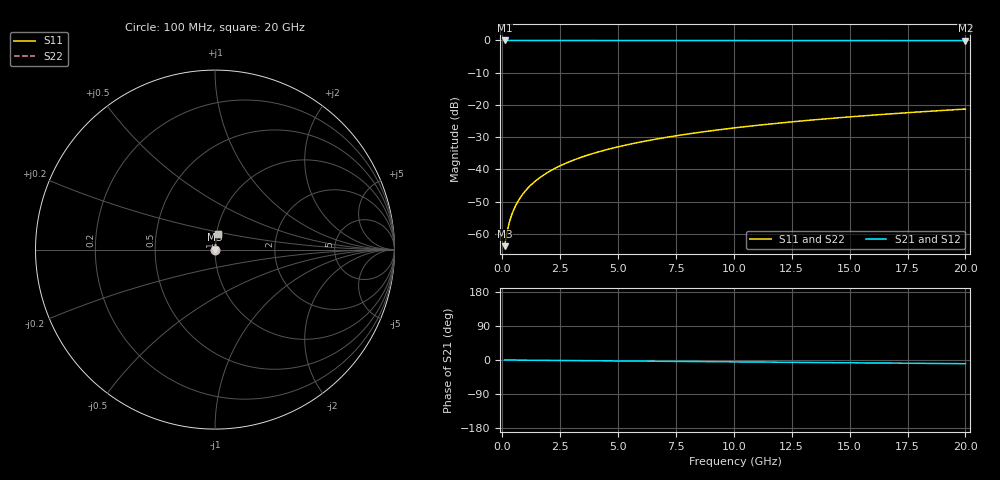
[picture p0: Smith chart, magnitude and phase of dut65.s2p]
! Touchstone file exported from HFSS 2026.1.0
!  File:  C:/ffzhzh/LocalFiles/Ansys_Project_Files/temp_train_TSV_65_1782959116_45748.aedt
!  Generated:  10:26:57 AM Jul  2, 2026
!  Design:  TSV
!  Project:  temp_train_TSV_65_1782959116_45748
! Variables:
!  h_bsmrdl = 2um
!  h_ox = 20um
!  h_rdl = 5um
!  h_sub = 81.57um
!  h_tmrdl = 5um
!  h_tsv = 81.57um
!  h_via = 3um
!  l_bsmrdl = 300um
!  l_sub = 409.66um
!  l_tmrdl = 200um
!  m_sub = 200um
!  pitch = 45.73um
!  r_tsv = 4.83um
!  s_tmrdl = 10um
!  w_bsmrdl = 18um
!  w_sub = 500um
!  w_tmrdl = 12um
!  x_tsv_center1 = 206um
!  x_tsv_center2 = 524um
!  x_tsv_center3 = 736um
!  x_tsv_center4 = 1054um
!  x_tsv_center5 = 1266um
!  x_tsv_center6 = 1584um
# GHz S MA R 50.000000
! Terminal data exported
! Port[1] = TSV1_1_T1
! Port[2] = TSV1_1_T2
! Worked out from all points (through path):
!   200 points, 100 MHz to 20 GHz, reference 50 ohm
!   highest |S21| = 0.00 dB at 100 MHz (marker M1); lowest = -0.1 dB at 20 GHz (marker M2)
!   group delay of S21, straight-line fit = 1.35 ps
!   lowest |S11| = -63.9 dB at 100 MHz (marker M3), VSWR 1.00, Z = 50 + j0.0475 ohm
!   |S11| at or under -10 dB: start of sweep to end of sweep
!   |S22| runs from -63.9 to -21.3 dB; largest |S21 - S12| = 2.3e-15
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0.1  0.000641 47.8  0.9996 -0.1  0.9996 -0.1  0.000641 47.8
! Gamma 0 0 0 0
! Port Impedance 50 0 50 0
0.2  0.001044 65.0  0.9996 -0.1  0.9996 -0.1  0.001044 65.0
0.3  0.001487 72.1  0.9995 -0.2  0.9995 -0.2  0.001487 72.1
0.4  0.001938 75.8  0.9995 -0.2  0.9995 -0.2  0.001938 75.8
0.5  0.00239 78.0  0.9995 -0.3  0.9995 -0.3  0.00239 78.0
0.7  0.003293 80.6  0.9995 -0.4  0.9995 -0.4  0.003293 80.6
0.8  0.003743 81.4  0.9995 -0.4  0.9995 -0.4  0.003743 81.4
1  0.004642 82.6  0.9994 -0.5  0.9994 -0.5  0.004642 82.6
1.2  0.00554 83.4  0.9994 -0.6  0.9994 -0.6  0.00554 83.4
1.4  0.006437 83.9  0.9994 -0.7  0.9994 -0.7  0.006437 83.9
1.7  0.007781 84.4  0.9993 -0.9  0.9993 -0.9  0.007781 84.4
2  0.009122 84.7  0.9993 -1.0  0.9993 -1.0  0.009122 84.7
2.7  0.01224 85.0  0.9991 -1.3  0.9991 -1.3  0.01224 85.0
3.5  0.01577 85.0  0.999 -1.7  0.999 -1.7  0.01577 85.0
4.2  0.01884 84.9  0.9988 -2.1  0.9988 -2.1  0.01884 84.9
5  0.02232 84.7  0.9986 -2.5  0.9986 -2.5  0.02232 84.7
6.8  0.03011 84.1  0.9982 -3.4  0.9982 -3.4  0.03011 84.1
8.3  0.03655 83.6  0.9979 -4.1  0.9979 -4.1  0.03655 83.6
10.1  0.04426 83.0  0.9974 -5.0  0.9974 -5.0  0.04426 83.0
13.4  0.05831 81.7  0.9965 -6.6  0.9965 -6.6  0.05831 81.7
16.7  0.07226 80.2  0.9954 -8.1  0.9954 -8.1  0.07226 80.2
20  0.08607 78.8  0.994 -9.7  0.994 -9.7  0.08607 78.8
